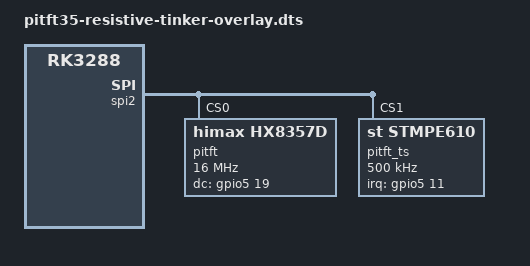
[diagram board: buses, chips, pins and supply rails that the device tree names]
/*
 * Device Tree overlay for Adafruit PiTFT 3.5" resistive touch screen
 *
 */

/dts-v1/;
/plugin/;

/ {
	compatible = "rockchip,rk3288-miniarm", "rockchip,rk3288";

	fragment@0 {
		target = <&spi2>;

		__overlay__ {
			status = "okay";

			spidev@0 {
				status = "disabled";
			};

			spidev@1 {
				status = "disabled";
			};
		};
	};

	fragment@1 {
		target = <&gpio5>;
		__overlay__ {
			pitft_pins: pitft_pins {
				rockchip,pins = <5 11 0 &pcfg_pull_up>,
				                <5 19 1 &pcfg_pull_none>;
			};
		};
	};

	fragment@2 {
		target = <&spi2>;
		__overlay__ {
			/* needed to avoid dtc warning */
			#address-cells = <1>;
			#size-cells = <0>;

			pitft: pitft@0{
				compatible = "himax,hx8357d";
				reg = <0>;
				pinctrl-names = "default";
				pinctrl-0 = <&pitft_pins>;

				spi-max-frequency = <16000000>;
				rotate = <0>;
				fps = <20>;
				bgr;
				buswidth = <8>;
				dc-gpios = <&gpio5 19 0>;
				debug = <0>;
			};

			pitft_ts@1 {
				#address-cells = <1>;
				#size-cells = <0>;
				compatible = "st,stmpe610";
				reg = <1>;

				spi-max-frequency = <500000>;
				interrupts = <11 2>; /* high-to-low edge triggered */
				interrupt-parent = <&gpio5>;
				interrupt-controller;

				stmpe_touchscreen {
					compatible = "st,stmpe-ts";
					st,sample-time = <4>;
					st,mod-12b = <1>;
					st,ref-sel = <0>;
					st,adc-freq = <2>;
					st,ave-ctrl = <3>;
					st,touch-det-delay = <4>;
					st,settling = <2>;
					st,fraction-z = <7>;
					st,i-drive = <0>;
				};
			};
		};
	};
};
